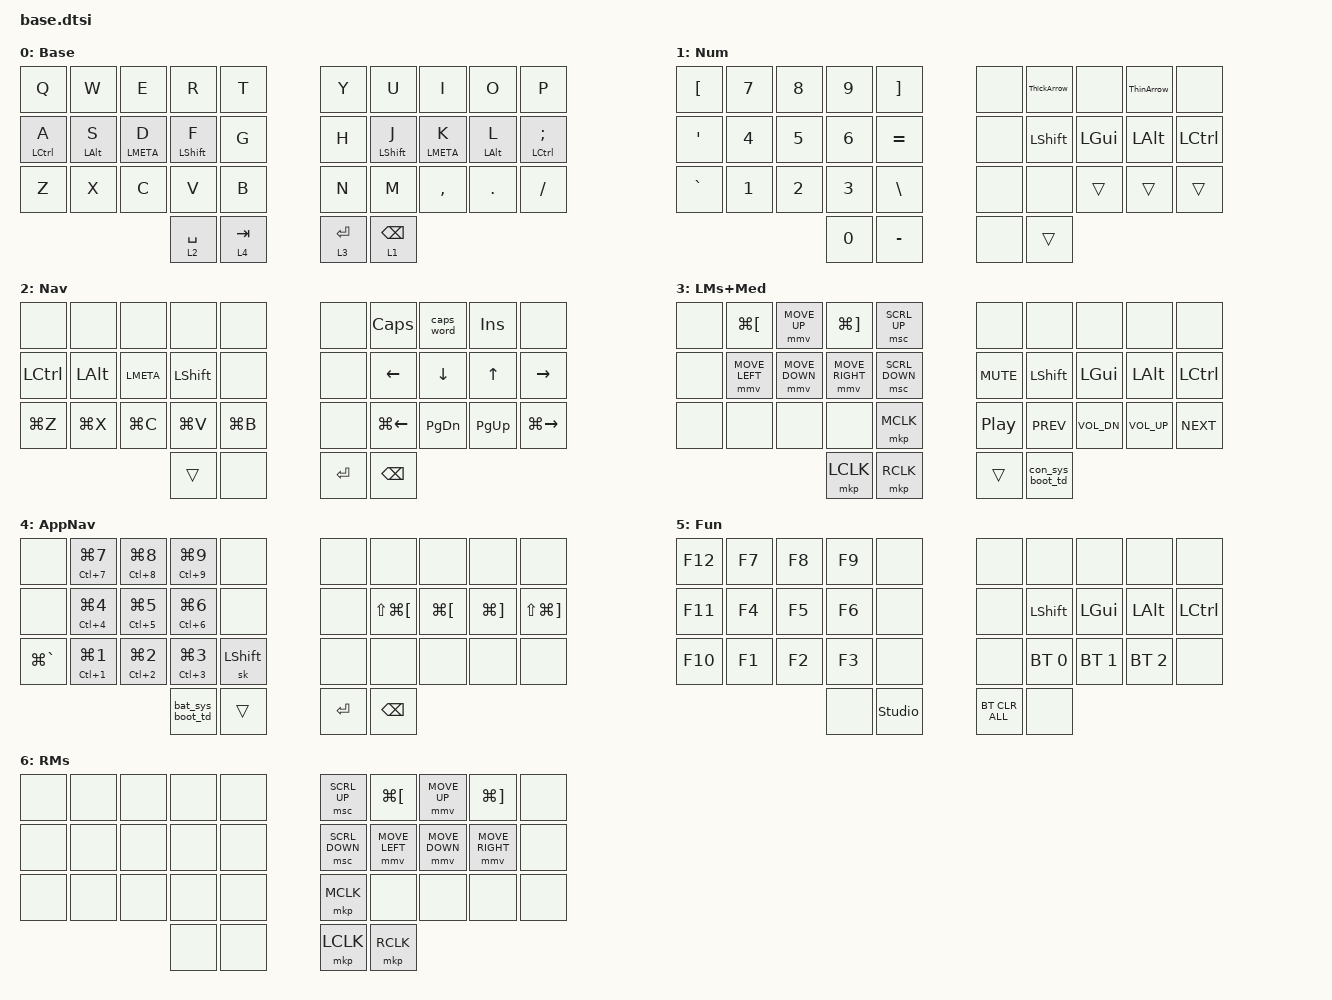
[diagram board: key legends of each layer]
#include <behaviors.dtsi>
#include <dt-bindings/zmk/bt.h>
#include <dt-bindings/zmk/keys.h>
#include <behaviors/rgbled_widget.dtsi>

#include "mouse.dtsi"
#include "combos.dtsi"

&lt {
    quick-tap-ms = <250>;
};

&sl {
    release-after-ms = <10000>;
    ignore-modifiers;
};

/ {
    conditional_layers { compatible = "zmk,conditional-layers"; };

    macros {
        ThickArrow: ThickArrow {
            compatible = "zmk,behavior-macro";
            #binding-cells = <0>;
            bindings = <&kp SPACE &kp EQUAL &kp GT &kp SPACE>;
            label = "THICKARROW";
        };

        ThinArrow: ThinArrow {
            compatible = "zmk,behavior-macro";
            #binding-cells = <0>;
            bindings = <&kp MINUS &kp GT>;
            label = "THINARROW";
        };

        Cmd1: Cmd1 {
            compatible = "zmk,behavior-macro";
            #binding-cells = <0>;
            wait-ms = <30>;
            tap-ms = <20>;
             bindings =
                 <&macro_press &kp LGUI>,
                 <&macro_tap &kp N1>,
                 <&macro_release &kp LGUI>;

            label = "CMD1";
        };

        Cmd2: Cmd2 {
            compatible = "zmk,behavior-macro";
            #binding-cells = <0>;
            wait-ms = <30>;
            tap-ms = <20>;
             bindings =
                 <&macro_press &kp LGUI>,
                 <&macro_tap &kp N2>,
                 <&macro_release &kp LGUI>;

            label = "CMD2";
        };

        Cmd3: Cmd3 {
            compatible = "zmk,behavior-macro";
            #binding-cells = <0>;
            wait-ms = <30>;
            tap-ms = <20>;
             bindings =
                 <&macro_press &kp LGUI>,
                 <&macro_tap &kp N3>,
                 <&macro_release &kp LGUI>;

            label = "CMD3";
        };

        Cmd4: Cmd4 {
            compatible = "zmk,behavior-macro";
            #binding-cells = <0>;
            wait-ms = <30>;
            tap-ms = <20>;
             bindings =
                 <&macro_press &kp LGUI>,
                 <&macro_tap &kp N4>,
                 <&macro_release &kp LGUI>;

            label = "CMD4";
        };

        Cmd5: Cmd5 {
            compatible = "zmk,behavior-macro";
            #binding-cells = <0>;
            wait-ms = <30>;
            tap-ms = <20>;
             bindings =
                 <&macro_press &kp LGUI>,
                 <&macro_tap &kp N5>,
                 <&macro_release &kp LGUI>;

            label = "CMD5";
        };

        Cmd6: Cmd6 {
            compatible = "zmk,behavior-macro";
            #binding-cells = <0>;
            wait-ms = <30>;
            tap-ms = <20>;
             bindings =
                 <&macro_press &kp LGUI>,
                 <&macro_tap &kp N6>,
                 <&macro_release &kp LGUI>;

            label = "CMD6";
        };

        Cmd7: Cmd7 {
            compatible = "zmk,behavior-macro";
            #binding-cells = <0>;
            wait-ms = <30>;
            tap-ms = <20>;
             bindings =
                 <&macro_press &kp LGUI>,
                 <&macro_tap &kp N7>,
                 <&macro_release &kp LGUI>;

            label = "CMD7";
        };

        Cmd8: Cmd8 {
            compatible = "zmk,behavior-macro";
            #binding-cells = <0>;
            wait-ms = <30>;
            tap-ms = <20>;
             bindings =
                 <&macro_press &kp LGUI>,
                 <&macro_tap &kp N8>,
                 <&macro_release &kp LGUI>;

            label = "CMD8";
        };

        Cmd9: Cmd9 {
            compatible = "zmk,behavior-macro";
            #binding-cells = <0>;
            wait-ms = <30>;
            tap-ms = <20>;
             bindings =
                 <&macro_press &kp LGUI>,
                 <&macro_tap &kp N9>,
                 <&macro_release &kp LGUI>;

            label = "CMD9";
        };
    };

    behaviors {
        caps_word {
            continue-list = <UNDERSCORE BACKSPACE DELETE MINUS>;
        };

        hrml_ht: hrm_left_ht {
            compatible = "zmk,behavior-hold-tap";
            label = "Home row mods left hold tap";
            bindings = <&kp>, <&kp>;

            #binding-cells = <2>;
            tapping-term-ms = <160>;
            quick-tap-ms = <150>;
            require-prior-idle-ms = <80>;
            flavor = "balanced";
            hold-trigger-on-release;
            hold-trigger-key-positions = <RT0 RT1 RT2 RT3 RT4 RM0 RM1 RM2 RM3 RM4 RB0 RB1 RB2 RB3 RB4 LH1 LH0 RH0 RH1>;
            hold-while-undecided;
        };

        hrmr_ht: hrm_right_ht {
            compatible = "zmk,behavior-hold-tap";
            label = "Home row mods right hold tap";
            bindings = <&kp>, <&kp>;

            #binding-cells = <2>;
            tapping-term-ms = <160>;
            quick-tap-ms = <150>;
            require-prior-idle-ms = <80>;
            flavor = "balanced";
            hold-trigger-on-release;
            hold-trigger-key-positions = <LT4 LT3 LT2 LT1 LT0 LM4 LM3 LM2 LM1 LM0 LB4 LB3 LB2 LB1 LB0 LH1 LH0 RH0 RH1>;
            hold-while-undecided;
        };

        an_ht: appnav_ht {
            compatible = "zmk,behavior-hold-tap";
            label = "AppNavigation hold tap";
            bindings = <&kp>, <&kp>;

            #binding-cells = <2>;
            tapping-term-ms = <160>;
            flavor = "tap-preferred";
        };

        bat_sys_boot_td: bat_sys_boot_td {
            compatible = "zmk,behavior-tap-dance";
            label = "Battery/Reset/Bootloader tap dance";
            #binding-cells = <0>;
            tapping-term-ms = <250>;
            bindings = <&ind_bat>, <&sys_reset>, <&bootloader>;
        };

        con_sys_boot_td: con_sys_boot_td {
            compatible = "zmk,behavior-tap-dance";
            label = "Connection/Reset/Bootloader tap dance";
            #binding-cells = <0>;
            tapping-term-ms = <250>;
            bindings = <&ind_con>, <&sys_reset>, <&bootloader>;
        };
    };

    keymap {
        compatible = "zmk,keymap";

        Base {
            display-name = "Base";
            bindings = <
// ┌───────────────────────┬───────────────────────┬───────────────────────┬───────────────────────┬───────────────────────┐    ┌───────────────────────┬───────────────────────┬───────────────────────┬───────────────────────┬───────────────────────┐
     &kp Q                   &kp W                   &kp E                   &kp R                   &kp T                        &kp Y                   &kp U                   &kp I                   &kp O                   &kp P
// ├───────────────────────┼───────────────────────┼───────────────────────┼───────────────────────┼───────────────────────┤    ├───────────────────────┼───────────────────────┼───────────────────────┼───────────────────────┼───────────────────────┤
     &hrml_ht LCTRL A        &hrml_ht LALT S         &hrml_ht LMETA D        &hrml_ht LSHIFT F       &kp G                        &kp H                   &hrmr_ht LSHFT J        &hrmr_ht LMETA K        &hrmr_ht LALT L         &hrmr_ht LCTRL SEMI
// ├───────────────────────┼───────────────────────┼───────────────────────┼───────────────────────┼───────────────────────┤    ├───────────────────────┼───────────────────────┼───────────────────────┼───────────────────────┼───────────────────────┤
     &kp Z                   &kp X                   &kp C                   &kp V                   &kp B                        &kp N                   &kp M                   &kp COMMA               &kp DOT                 &kp SLASH
// └───────────────────────┴───────────────────────┴───────────────────────┼───────────────────────┼───────────────────────┤    ├───────────────────────┼───────────────────────┼───────────────────────┴───────────────────────┴───────────────────────┘
                                                                             &lt 2 SPACE             &lt 4 TAB                    &lt 3 ENTER             &lt 1 BACKSPACE
//                                                                         └───────────────────────┴───────────────────────┘    └───────────────────────┴───────────────────────┘
            >;
        };

        Num {
            display-name = "Num";
            bindings = <
// ┌───────────────────────┬───────────────────────┬───────────────────────┬───────────────────────┬───────────────────────┐    ┌───────────────────────┬───────────────────────┬───────────────────────┬───────────────────────┬───────────────────────┐
     &kp LEFT_BRACKET        &kp N7                  &kp N8                  &kp N9                  &kp RIGHT_BRACKET            &none                   &ThickArrow             &none                   &ThinArrow              &none
// ├───────────────────────┼───────────────────────┼───────────────────────┼───────────────────────┼───────────────────────┤    ├───────────────────────┼───────────────────────┼───────────────────────┼───────────────────────┼───────────────────────┤
     &kp SQT                 &kp N4                  &kp N5                  &kp N6                  &kp EQUAL                    &none                   &kp LSHFT               &kp LGUI                &kp LALT                &kp LCTRL
// ├───────────────────────┼───────────────────────┼───────────────────────┼───────────────────────┼───────────────────────┤    ├───────────────────────┼───────────────────────┼───────────────────────┼───────────────────────┼───────────────────────┤
     &kp GRAVE               &kp N1                  &kp N2                  &kp N3                  &kp BACKSLASH                &none                   &none                   &trans                  &trans                  &trans
// └───────────────────────┴───────────────────────┴───────────────────────┼───────────────────────┼───────────────────────┤    ├───────────────────────┼───────────────────────┼───────────────────────┴───────────────────────┴───────────────────────┘
                                                                             &kp N0                  &kp MINUS                    &none                   &trans
//                                                                         └───────────────────────┴───────────────────────┘    └───────────────────────┴───────────────────────┘
            >;
        };

        Nav {
            display-name = "Nav";
            bindings = <
// ┌───────────────────────┬───────────────────────┬───────────────────────┬───────────────────────┬───────────────────────┐    ┌───────────────────────┬───────────────────────┬───────────────────────┬───────────────────────┬───────────────────────┐
     &none                   &none                   &none                   &none                   &none                        &none                   &kp CAPSLOCK            &caps_word              &kp INS                 &none
// ├───────────────────────┼───────────────────────┼───────────────────────┼───────────────────────┼───────────────────────┤    ├───────────────────────┼───────────────────────┼───────────────────────┼───────────────────────┼───────────────────────┤
     &kp LCTRL               &kp LALT                &kp LMETA               &kp LSHIFT              &none                        &none                   &kp LEFT                &kp DOWN                &kp UP                  &kp RIGHT
// ├───────────────────────┼───────────────────────┼───────────────────────┼───────────────────────┼───────────────────────┤    ├───────────────────────┼───────────────────────┼───────────────────────┼───────────────────────┼───────────────────────┤
     &kp LG(Z)               &kp LG(X)               &kp LG(C)               &kp LG(V)               &kp LG(B)                    &none                   &kp LG(LEFT)            &kp PG_DN               &kp PG_UP               &kp LG(RIGHT)
// └───────────────────────┴───────────────────────┴───────────────────────┼───────────────────────┼───────────────────────┤    ├───────────────────────┼───────────────────────┼───────────────────────┴───────────────────────┴───────────────────────┘
                                                                             &trans                  &none                        &kp ENTER               &kp BACKSPACE
//                                                                         └───────────────────────┴───────────────────────┘    └───────────────────────┴───────────────────────┘
            >;
        };

        LMs+Med {
            display-name = "LMs+Med";
            bindings = <
// ┌───────────────────────┬───────────────────────┬───────────────────────┬───────────────────────┬───────────────────────┐    ┌───────────────────────┬───────────────────────┬───────────────────────┬───────────────────────┬───────────────────────┐
     &none                   &kp LG(LEFT_BRACKET)    &mmv MOVE_UP            &kp LG(RIGHT_BRACKET)   &msc SCRL_UP                 &none                   &none                   &none                   &none                   &none
// ├───────────────────────┼───────────────────────┼───────────────────────┼───────────────────────┼───────────────────────┤    ├───────────────────────┼───────────────────────┼───────────────────────┼───────────────────────┼───────────────────────┤
     &none                   &mmv MOVE_LEFT          &mmv MOVE_DOWN          &mmv MOVE_RIGHT         &msc SCRL_DOWN               &kp C_MUTE              &kp LSHFT               &kp LGUI                &kp LALT                &kp LCTRL
// ├───────────────────────┼───────────────────────┼───────────────────────┼───────────────────────┼───────────────────────┤    ├───────────────────────┼───────────────────────┼───────────────────────┼───────────────────────┼───────────────────────┤
     &none                   &none                   &none                   &none                   &mkp MCLK                    &kp C_PLAY_PAUSE        &kp C_PREV              &kp C_VOL_DN            &kp C_VOL_UP            &kp C_NEXT
// └───────────────────────┴───────────────────────┴───────────────────────┼───────────────────────┼───────────────────────┤    ├───────────────────────┼───────────────────────┼───────────────────────┴───────────────────────┴───────────────────────┘
                                                                             &mkp LCLK               &mkp RCLK                    &trans                  &con_sys_boot_td
//                                                                         └───────────────────────┴───────────────────────┘    └───────────────────────┴───────────────────────┘
            >;
        };

        AppNav {
            display-name = "AppNav";
            bindings = <
// ┌───────────────────────┬───────────────────────┬───────────────────────┬───────────────────────┬───────────────────────┐    ┌───────────────────────┬───────────────────────┬───────────────────────┬───────────────────────┬───────────────────────┐
     &none                   &an_ht LC(N7) LG(N7)    &an_ht LC(N8) LG(N8)    &an_ht LC(N9) LG(N9)     &none                        &none                   &none                   &none                   &none                   &none
// ├───────────────────────┼───────────────────────┼───────────────────────┼───────────────────────┼───────────────────────┤    ├───────────────────────┼───────────────────────┼───────────────────────┼───────────────────────┼───────────────────────┤
     &none                   &an_ht LC(N4) LG(N4)    &an_ht LC(N5) LG(N5)    &an_ht LC(N6) LG(N6)     &none                        &none                   &kp LS(LG(LBKT))        &kp LG(LBKT)            &kp LG(RBKT)            &kp LS(LG(RBKT))
// ├───────────────────────┼───────────────────────┼───────────────────────┼───────────────────────┼───────────────────────┤    ├───────────────────────┼───────────────────────┼───────────────────────┼───────────────────────┼───────────────────────┤
     &kp LG(GRAVE)           &an_ht LC(N1) LG(N1)    &an_ht LC(N2) LG(N2)    &an_ht LC(N3) LG(N3)     &sk LSHIFT                   &none                   &none                   &none                   &none                   &none
// └───────────────────────┴───────────────────────┴───────────────────────┼───────────────────────┼───────────────────────┤    ├───────────────────────┼───────────────────────┼───────────────────────┴───────────────────────┴───────────────────────┘
                                                                             &bat_sys_boot_td         &trans                       &kp ENTER               &kp BACKSPACE
//                                                                         └───────────────────────┴───────────────────────┘    └───────────────────────┴───────────────────────┘
            >;
        };

        Fun {
            display-name = "Fun";
            bindings = <
// ┌───────────────────────┬───────────────────────┬───────────────────────┬───────────────────────┬───────────────────────┐    ┌───────────────────────┬───────────────────────┬───────────────────────┬───────────────────────┬───────────────────────┐
     &kp F12                 &kp F7                  &kp F8                  &kp F9                  &none                        &none                   &none                   &none                   &none                   &none
// ├───────────────────────┼───────────────────────┼───────────────────────┼───────────────────────┼───────────────────────┤    ├───────────────────────┼───────────────────────┼───────────────────────┼───────────────────────┼───────────────────────┤
     &kp F11                 &kp F4                  &kp F5                  &kp F6                  &none                        &none                   &kp LSHFT               &kp LGUI                &kp LALT                &kp LCTRL
// ├───────────────────────┼───────────────────────┼───────────────────────┼───────────────────────┼───────────────────────┤    ├───────────────────────┼───────────────────────┼───────────────────────┼───────────────────────┼───────────────────────┤
     &kp F10                 &kp F1                  &kp F2                  &kp F3                  &none                        &none                   &bt BT_SEL 0            &bt BT_SEL 1            &bt BT_SEL 2            &none
// └───────────────────────┴───────────────────────┴───────────────────────┼───────────────────────┼───────────────────────┤    ├───────────────────────┼───────────────────────┼───────────────────────┴───────────────────────┴───────────────────────┘
                                                                             &none                   &studio_unlock               &bt BT_CLR_ALL          &none
//                                                                         └───────────────────────┴───────────────────────┘    └───────────────────────┴───────────────────────┘
            >;
        };

        RMs {
            display-name = "RMs";
            bindings = <
// ┌───────────────────────┬───────────────────────┬───────────────────────┬───────────────────────┬───────────────────────┐    ┌───────────────────────┬───────────────────────┬───────────────────────┬───────────────────────┬───────────────────────┐
     &none                   &none                   &none                   &none                   &none                        &msc SCRL_UP            &kp LG(LEFT_BRACKET)    &mmv MOVE_UP            &kp LG(RIGHT_BRACKET)   &none
// ├───────────────────────┼───────────────────────┼───────────────────────┼───────────────────────┼───────────────────────┤    ├───────────────────────┼───────────────────────┼───────────────────────┼───────────────────────┼───────────────────────┤
     &none                   &none                   &none                   &none                   &none                        &msc SCRL_DOWN          &mmv MOVE_LEFT          &mmv MOVE_DOWN          &mmv MOVE_RIGHT         &none
// ├───────────────────────┼───────────────────────┼───────────────────────┼───────────────────────┼───────────────────────┤    ├───────────────────────┼───────────────────────┼───────────────────────┼───────────────────────┼───────────────────────┤
     &none                   &none                   &none                   &none                   &none                        &mkp MCLK               &none                   &none                   &none                   &none
// └───────────────────────┴───────────────────────┴───────────────────────┼───────────────────────┼───────────────────────┤    ├───────────────────────┼───────────────────────┼───────────────────────┴───────────────────────┴───────────────────────┘
                                                                             &none                   &none                        &mkp LCLK               &mkp RCLK
//                                                                         └───────────────────────┴───────────────────────┘    └───────────────────────┴───────────────────────┘
            >;
        };
    };
};
